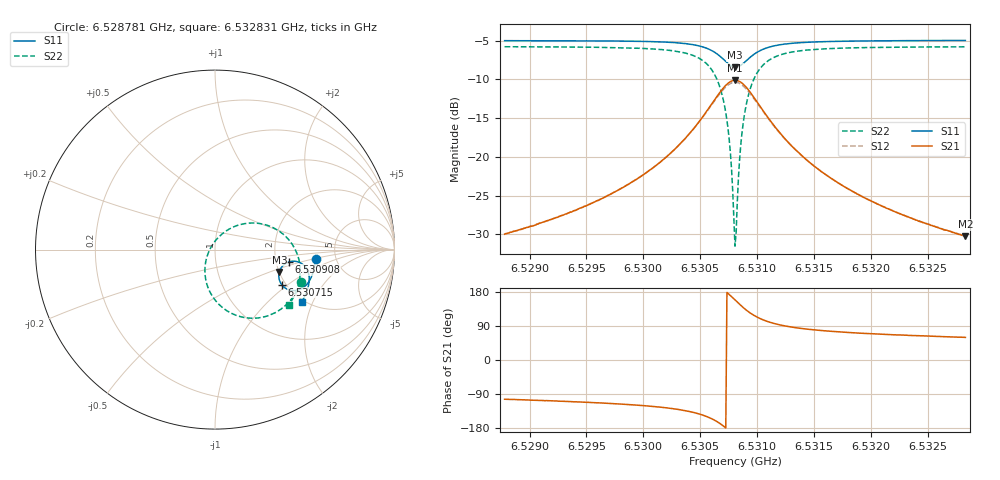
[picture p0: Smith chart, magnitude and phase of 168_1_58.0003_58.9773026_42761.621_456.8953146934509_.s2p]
#  HZ  S  RI  R  50.00
! Rohde & Schwarz Vector Network Analyzer
! Rohde-Schwarz,ZNB20-2Port,1311601062101988,3.16
! Created: UTC 3/21/2024, 12:57:48 AM
! freq[Hz]  re:S11  im:S11  re:S21  im:S21  re:S12  im:S12  re:S22  im:S22
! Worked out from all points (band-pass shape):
!   401 points, 6.528781 GHz to 6.532831 GHz, reference 50 ohm
!   highest |S21| = -10.11 dB at 6.530806 GHz (marker M1); lowest = -30.2 dB at 6.532831 GHz (marker M2)
!   |S21| within 3 dB of the highest: 6.530604 GHz to 6.53101 GHz (405.2 kHz wide, 0.0062 % of centre)
!   lowest |S11| = -8.4 dB at 6.530806 GHz (marker M3), VSWR 2.22, Z = 100 - j29.1 ohm
!   |S11| at or under -10 dB: nowhere
!   |S22| runs from -31.5 to -5.8 dB; largest |S21 - S12| = 0.013
!   S11 on the Smith chart (normalised r, x): 6.528781 GHz: 3.49, -0.52; 6.530715 GHz: 1.90, -0.90; 6.530908 GHz: 2.37, -0.39; 6.532831 GHz: 1.94, -1.66
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6.5287811e9  0.5605 -0.0511  -0.00741 -0.0308  -0.00801 -0.0308  0.4816 -0.1806
6.5294595e9  0.5512 -0.1082  -0.0169 -0.0439  -0.0179 -0.0435  0.4496 -0.2438
6.5298241e9  0.5409 -0.1425  -0.0286 -0.0567  -0.0301 -0.0561  0.4178 -0.2863
6.530138e9  0.5242 -0.1771  -0.051 -0.0754  -0.0533 -0.074  0.3658 -0.3329
6.5303709e9  0.4975 -0.2075  -0.0914 -0.0952  -0.0943 -0.0921  0.2835 -0.3723
6.530543e9  0.4533 -0.2274  -0.1606 -0.1022  -0.1632 -0.0953  0.1554 -0.3768
6.5306443e9  0.4077 -0.2228  -0.2315 -0.0756  -0.2308 -0.0656  0.0366 -0.3186
6.5307151e9  0.3718 -0.1953  -0.2841 -0.016  -0.278 -0.00571  -0.0402 -0.2083
6.5307556e9  0.3581 -0.1671  -0.3003 0.0378  -0.2911 0.0462  -0.0563 -0.1159
6.5307961e9  0.3565 -0.133  -0.2956 0.0992  -0.2844 0.1043  -0.0364 -0.016
6.5308063e9  0.3584 -0.1243  -0.2905 0.1146  -0.2792 0.1184  -0.0253 0.00777
6.5308164e9  0.3612 -0.1161  -0.2842 0.1291  -0.2727 0.1319  -0.0118 0.0303
6.5308265e9  0.3648 -0.1081  -0.2762 0.1429  -0.2649 0.1446  0.00366 0.0512
6.5308468e9  0.3745 -0.0937  -0.2569 0.1674  -0.2463 0.1673  0.0401 0.0876
6.530867e9  0.3864 -0.0821  -0.2342 0.1872  -0.2246 0.1856  0.0811 0.1156
6.5309075e9  0.4137 -0.0679  -0.1846 0.2108  -0.1773 0.2076  0.1676 0.145
6.5309784e9  0.4575 -0.067  -0.1078 0.2131  -0.104 0.2099  0.2965 0.1336
6.5310797e9  0.4961 -0.0889  -0.0416 0.1816  -0.0398 0.18  0.4028 0.0641
6.5312315e9  0.5189 -0.1249  -0.00169 0.1345  -0.000406 0.1336  0.4607 -0.0328
6.5314847e9  0.525 -0.1685  0.0154 0.0878  0.0166 0.0875  0.4748 -0.1316
6.5321631e9  0.5084 -0.2399  0.0179 0.0422  0.0186 0.042  0.4457 -0.2484
6.5328314e9  0.4838 -0.2911  0.0155 0.0265  0.0161 0.0263  0.411 -0.3083
